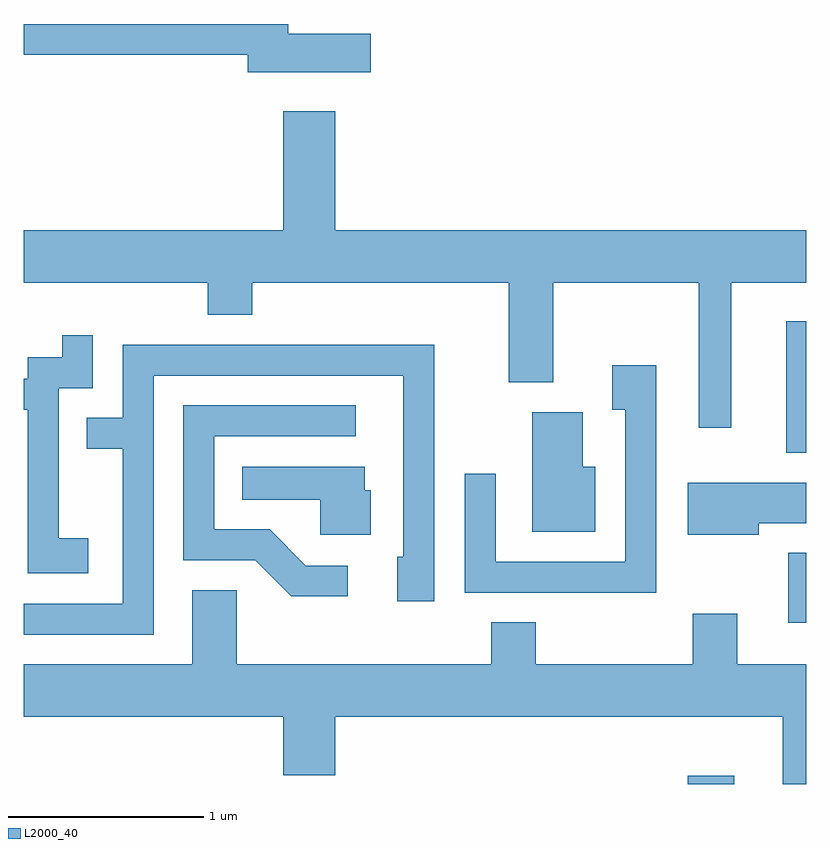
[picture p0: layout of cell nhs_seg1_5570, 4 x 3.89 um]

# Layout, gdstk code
import gdstk
lib = gdstk.Library(unit=1e-6, precision=1e-09)
def R(c, l, rs):  # rectangles x0, y0, x1, y1
    for r in rs: c.add(gdstk.rectangle(r[:2], r[2:], *l))
def P(c, l, *ps):  # polygons
    for p in ps: c.add(gdstk.Polygon(p, *l))
L2000_40 = (2000, 40)

nhs_seg1_5570 = lib.new_cell('nhs_seg1_5570')
R(nhs_seg1_5570, L2000_40, [(357.006,863.712,357.244,863.754), (357.521,864.536,357.611,864.894), (357.511,865.406,357.611,866.079)])
P(nhs_seg1_5570, L2000_40, [(355.384,867.549),(354.964,867.549),(354.964,867.599),(353.611,867.599),(353.611,867.441),(354.756,867.441),(354.756,867.351),(355.384,867.351)],
  [(357.229,866.276),(357.611,866.276),(357.611,866.544),(355.204,866.544),(355.204,867.154),(354.936,867.154),(354.936,866.544),(353.611,866.544),(353.611,866.276),(354.551,866.276),(354.551,866.111),(354.779,866.111),(354.779,866.276),(356.091,866.276),(356.091,865.766),(356.319,865.766),(356.319,866.276),(357.061,866.276),(357.061,865.533),(357.229,865.533)],
  [(353.939,864.969),(353.789,864.969),(353.789,865.736),(353.964,865.736),(353.964,866.008),(353.806,866.008),(353.806,865.894),(353.631,865.894),(353.631,865.784),(353.611,865.784),(353.611,865.626),(353.631,865.626),(353.631,864.791),(353.939,864.791)],
  [(354.274,865.801),(355.551,865.801),(355.551,864.874),(355.521,864.874),(355.521,864.646),(355.709,864.646),(355.709,865.959),(354.116,865.959),(354.116,865.584),(353.933,865.584),(353.933,865.426),(354.116,865.426),(354.116,864.634),(353.611,864.634),(353.611,864.476),(354.274,864.476)],
  [(356.844,865.854),(356.621,865.854),(356.621,865.626),(356.686,865.626),(356.686,864.849),(356.024,864.849),(356.024,865.298),(355.866,865.298),(355.866,864.691),(356.844,864.691)],
  [(355.268,864.829),(355.052,864.829),(354.867,865.014),(354.584,865.014),(354.584,865.491),(355.308,865.491),(355.308,865.649),(354.426,865.649),(354.426,864.856),(354.794,864.856),(354.979,864.671),(355.268,864.671)],
  [(356.534,865.334),(356.469,865.334),(356.469,865.614),(356.211,865.614),(356.211,865.001),(356.534,865.001)],
  [(355.384,865.214),(355.354,865.214),(355.354,865.334),(354.728,865.334),(354.728,865.166),(355.126,865.166),(355.126,864.986),(355.384,864.986)],
  [(357.369,865.046),(357.611,865.046),(357.611,865.254),(357.006,865.254),(357.006,864.986),(357.369,864.986)],
  [(357.611,864.324),(357.259,864.324),(357.259,864.584),(357.031,864.584),(357.031,864.324),(356.229,864.324),(356.229,864.539),(356.001,864.539),(356.001,864.324),(354.699,864.324),(354.699,864.704),(354.471,864.704),(354.471,864.324),(353.611,864.324),(353.611,864.056),(354.936,864.056),(354.936,863.756),(355.204,863.756),(355.204,864.056),(357.491,864.056),(357.491,863.712),(357.611,863.712)])

lib.write_gds('nhs_seg1_5570.gds')
